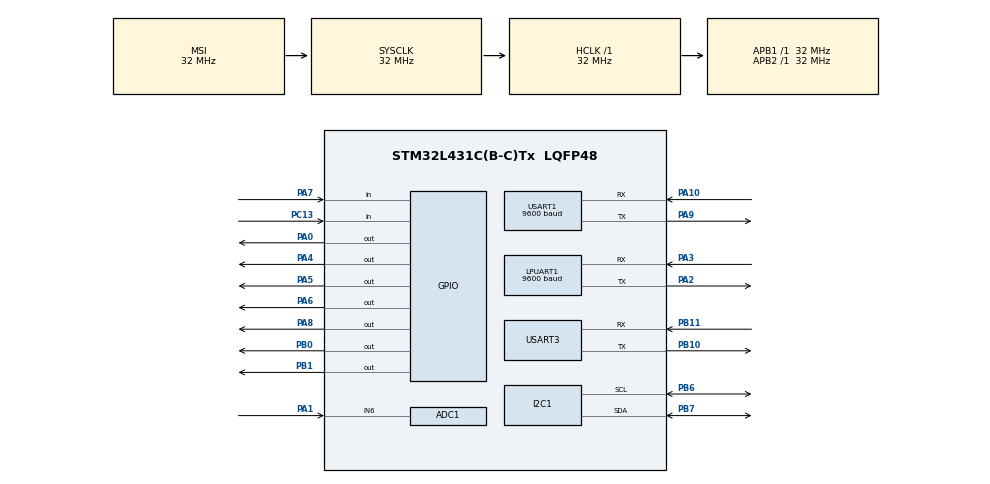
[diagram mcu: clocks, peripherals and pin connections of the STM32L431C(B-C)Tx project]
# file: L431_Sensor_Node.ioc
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ADC1.Channel-0\#ChannelRegularConversion=ADC_CHANNEL_6
ADC1.NbrOfConversionFlag=1
ADC1.OffsetNumber-0\#ChannelRegularConversion=ADC_OFFSET_NONE
ADC1.Rank-0\#ChannelRegularConversion=1
ADC1.SamplingTime-0\#ChannelRegularConversion=ADC_SAMPLETIME_2CYCLES_5
ADC1.master=1
Dma.LPUART_RX.0.Direction=DMA_PERIPH_TO_MEMORY
Dma.LPUART_RX.0.Instance=DMA2_Channel7
Dma.LPUART_RX.0.MemDataAlignment=DMA_MDATAALIGN_BYTE
Dma.LPUART_RX.0.MemInc=DMA_MINC_ENABLE
Dma.LPUART_RX.0.Mode=DMA_CIRCULAR
Dma.LPUART_RX.0.PeriphDataAlignment=DMA_PDATAALIGN_BYTE
Dma.LPUART_RX.0.PeriphInc=DMA_PINC_DISABLE
Dma.LPUART_RX.0.Priority=DMA_PRIORITY_LOW
Dma.Request0=LPUART_RX
Dma.Request1=USART1_RX
Dma.USART1_RX.1.Direction=DMA_PERIPH_TO_MEMORY
Dma.USART1_RX.1.Instance=DMA1_Channel5
Dma.USART1_RX.1.MemDataAlignment=DMA_MDATAALIGN_BYTE
Dma.USART1_RX.1.MemInc=DMA_MINC_ENABLE
Dma.USART1_RX.1.Mode=DMA_CIRCULAR
Dma.USART1_RX.1.PeriphDataAlignment=DMA_PDATAALIGN_BYTE
Dma.USART1_RX.1.PeriphInc=DMA_PINC_DISABLE
Dma.USART1_RX.1.Priority=DMA_PRIORITY_LOW
I2C1.Timing=0x00B07CB4
LPUART1.BaudRate=9600
LPUART1.DMADisableonRxErrorParam=UART_ADVFEATURE_DMA_DISABLEONRXERROR
LPUART1.OverrunDisableParam=UART_ADVFEATURE_OVERRUN_DISABLE
LPUART1.WordLength=UART_WORDLENGTH_8B
Mcu.Family=STM32L4
Mcu.Name=STM32L431C(B-C)Tx
Mcu.Package=LQFP48
NVIC.DMA1_Channel5_IRQn=true\:0\:0\:false\:false\:true\:false\:true\:true
NVIC.DMA2_Channel7_IRQn=true\:0\:0\:false\:false\:true\:false\:true\:true
NVIC.LPUART1_IRQn=true\:0\:0\:false\:false\:true\:true\:true\:true
NVIC.PriorityGroup=NVIC_PRIORITYGROUP_4
NVIC.USART1_IRQn=true\:0\:0\:false\:false\:true\:true\:true\:true
PA0.Signal=GPIO_Output
PA1.Signal=ADCx_IN6
PA10.GPIO_PuPd=GPIO_PULLUP
PA10.Mode=Asynchronous
PA10.Signal=USART1_RX
PA13\ (JTMS-SWDIO).Mode=Serial_Wire
PA13\ (JTMS-SWDIO).Signal=SYS_JTMS-SWDIO
PA14\ (JTCK-SWCLK).Mode=Serial_Wire
PA14\ (JTCK-SWCLK).Signal=SYS_JTCK-SWCLK
PA2.Mode=Asynchronous
PA2.Signal=LPUART1_TX
PA3.Mode=Asynchronous
PA3.Signal=LPUART1_RX
PA4.Signal=GPIO_Output
PA5.Signal=GPIO_Output
PA6.GPIO_ModeDefaultOutputPP=GPIO_MODE_OUTPUT_OD
PA6.GPIO_PuPd=GPIO_NOPULL
PA6.Signal=GPIO_Output
PA7.Signal=GPIO_Input
PA8.Signal=GPIO_Output
PA9.GPIO_PuPd=GPIO_PULLUP
PA9.Mode=Asynchronous
PA9.Signal=USART1_TX
PB0.Signal=GPIO_Output
PB1.Signal=GPIO_Output
PB10.Mode=Asynchronous
PB10.Signal=USART3_TX
PB11.Mode=Asynchronous
PB11.Signal=USART3_RX
PB6.Mode=I2C
PB6.Signal=I2C1_SCL
PB7.Mode=I2C
PB7.Signal=I2C1_SDA
PC13.GPIO_PuPd=GPIO_PULLUP
PC13.Signal=GPIO_Input
PC14-OSC32_IN\ (PC14).Mode=LSE-External-Oscillator
PC14-OSC32_IN\ (PC14).Signal=RCC_OSC32_IN
PC15-OSC32_OUT\ (PC15).Mode=LSE-External-Oscillator
PC15-OSC32_OUT\ (PC15).Signal=RCC_OSC32_OUT
ProjectManager.HeapSize=0x200
ProjectManager.StackSize=0x400
ProjectManager.TargetToolchain=CMake
RCC.ADCCLockSelection=RCC_ADCCLKSOURCE_SYSCLK
RCC.ADCFreq_Value=32000000
RCC.AHBFreq_Value=32000000
RCC.APB1Freq_Value=32000000
RCC.APB1TimFreq_Value=32000000
RCC.APB2Freq_Value=32000000
RCC.APB2TimFreq_Value=32000000
RCC.CortexFreq_Value=32000000
RCC.HCLKFreq_Value=32000000
RCC.HSE_VALUE=8000000
RCC.HSI48_VALUE=48000000
RCC.HSI_VALUE=16000000
RCC.LPUART1CLockSelection=RCC_LPUART1CLKSOURCE_HSI
RCC.MSIClockRange=RCC_MSIRANGE_10
RCC.MSI_VALUE=32000000
RCC.SYSCLKFreq_VALUE=32000000
RCC.VCOOutputFreq_Value=256000000
SH.ADCx_IN6.0=ADC1_IN6,IN6-Single-Ended
USART1.BaudRate=9600
USART1.DMADisableonRxErrorParam=ADVFEATURE_DMA_ENABLEONRXERROR
USART1.VirtualMode-Asynchronous=VM_ASYNC
USART3.VirtualMode-Asynchronous=VM_ASYNC
VP_RTC_VS_RTC_Activate.Mode=RTC_Enabled
VP_RTC_VS_RTC_Calendar.Mode=RTC_Calendar
board=custom

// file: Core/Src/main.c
/* USER CODE BEGIN Header */
/**
  ******************************************************************************
  * @file           : main.c
  * @brief          : Main program body
  ******************************************************************************
  * @attention
  *
  * Copyright (c) 2026 STMicroelectronics.
  * All rights reserved.
  *
  * This software is licensed under terms that can be found in the LICENSE file
  * in the root directory of this software component.
  * If no LICENSE file comes with this software, it is provided AS-IS.
  *
  ******************************************************************************
  */
/* USER CODE END Header */
#include "main.h"
#include "adc.h"
#include "dma.h"
#include "i2c.h"
#include "usart.h"
#include "rtc.h"
#include "gpio.h"

/* USER CODE BEGIN Includes */
#include <stdlib.h>
#include <stdio.h>
#include <string.h>
#include <unistd.h>

#include "printf.h"

#include "hw390_flash.h"

#include "interval.h"

#include "gps_time.h"

#include "gps_nmea.h"
#include "lora_app.h"
#include "lora_config.h"
#include "lora_driver.h"
#include "lora_identity.h"
#include "lora_join.h"
#include "utils.h"

#include "sensor_common.h"
#include "sensor_hw390.h"
#include "sensor_ds18b20.h"
#include "sensor_ina219.h"

/* USER CODE END Includes */

/* USER CODE BEGIN PD */

/* Node configuration */
#define GPIO_USER_BTN_LETTER GPIOC
#define GPIO_USER_BTN_PIN    GPIO_PIN_13

/* USER CODE END PD */

/* USER CODE BEGIN PV */
uint32_t last_poll_time = 0;

/* Measurement timing */
uint32_t last_humidity_ms = 0;
uint32_t last_temperature_ms = 0;
uint32_t last_gps_ms = 0;
uint32_t last_status_ms = 0;

/* Force measurement flags */
extern volatile bool force_humidity;
extern volatile bool force_temperature;
extern volatile bool force_gps;
extern volatile bool force_status;

/* Enable/disable flags */
bool need_humidity = true;
bool need_temperature = true;
bool need_gps = true;
bool need_status = true;

/* Interval global variables */
extern uint32_t hum_period_s;
extern uint32_t tmp_period_s;
extern uint32_t gps_period_s;
extern uint32_t stt_period_s;

extern volatile bool system_sleep_mode;

/* Online status */
bool device_online = true;

/* Button debounce */
static uint32_t button_last_press_ms = 0;
#define BUTTON_DEBOUNCE_MS 200

/* Sensor busy flags (for checking in main.c) */
extern volatile bool hw390_busy;
extern volatile bool ds18b20_busy;
extern bool gps_busy;
extern bool ina219_busy;

/* Sensor result ready flags (for checking in main.c) */
extern volatile bool hw390_result_ready;
extern volatile bool ds18b20_result_ready;
extern bool gps_result_ready;
extern bool ina219_result_ready;

extern RTC_HandleTypeDef hrtc;

/* USER CODE END PV */

void SystemClock_Config(void);
/* USER CODE BEGIN PFP */

bool period_due(uint32_t last_ms, uint32_t period_s);
bool check_need_humidity(void);
bool check_need_temperature(void);
bool check_need_gps(void);
bool check_need_status(void);
int measure_state(int16_t *out_rssi, float *out_snr, float *out_battery);

/* USER CODE END PFP */

/* USER CODE BEGIN 0 */

/* Debug version - define to enable debug prints */
#define DEBUG_VERSION

#ifndef DEBUG_VERSION
#define DEBUG_UART_BUFFER_SIZE 1024
static uint8_t debug_uart_buffer[DEBUG_UART_BUFFER_SIZE];
static uint16_t debug_uart_buffer_head = 0;
static uint16_t debug_uart_buffer_tail = 0;

/* Function prototype */
void debug_uart_process(void);
#endif

/* USER CODE END 0 */

int main(void)
{

  /* MCU Configuration--------------------------------------------------------*/

  /* Reset of all peripherals, Initializes the Flash interface and the Systick. */
  HAL_Init();

  /* Configure the system clock */
  SystemClock_Config();

  /* Initialize all configured peripherals */
  MX_GPIO_Init();
  MX_DMA_Init();
#ifndef GPS_ONLY
  MX_LPUART1_UART_Init();
#endif
  MX_USART1_UART_Init();
#ifndef GPS_ONLY
  MX_ADC1_Init();
  MX_I2C1_Init();
#endif
  MX_USART3_UART_Init();
  MX_RTC_Init();
  /* USER CODE BEGIN 2 */

  HAL_Delay(200);
  PRINTF("Wait 2 secs...\r\n");
  HAL_Delay(2000);
  PRINTF("Sensor Node firmware starting...\r\n");
  PRINTF("You can start HW390 calibration - Press USER button! (%d ms)\r\n", HW390_CALIBRATION_BOOT_WINDOW_MS);

  // Калибровки HW390
  uint32_t boot_window_start = HAL_GetTick();
  bool do_calibrate = false;
  while (HAL_GetTick() - boot_window_start < HW390_CALIBRATION_BOOT_WINDOW_MS) {
      if (HAL_GPIO_ReadPin(GPIO_USER_BTN_LETTER, GPIO_USER_BTN_PIN) == GPIO_PIN_RESET) { // active LOW, т.е. 0=нажато, 1=отпущено
          do_calibrate = true;
          break;
      }
      HAL_Delay(10);
  }

  if (do_calibrate) {
      hw390_run_calibration();
      NVIC_SystemReset(); // программный reset
  }
  else {
      PRINTF("Without HW390 calibration\r\n");
  }

  /* Initialize sensors */
  hw390_init();
  ds18b20_init();
  ina219_init();

  /* Initialize LoRa app, id and join */
  lora_identity_init();
  lora_join_init();
  lora_app_init();

  /* Initialize GPS (but keep it powered off initially) */
  gps_test_init(&huart1);  /* Initialize UART and DMA */

  /* Initialize random number generator */
  srand(HAL_GetTick());

  PRINTF("Sensor Node initialized\r\n");
  PRINTF("[HW390] Dry-Wet values: min(wet)=%u, max(dry)=%u\r\n", hw390_raw_wet, hw390_raw_dry);
  hw390_power_on();
  HAL_Delay(500); // на стабилизацию
  HAL_ADC_Start(&hadc1);
  HAL_Delay(500); // на стабилизацию
  if (HAL_ADC_PollForConversion(&hadc1, 10000) == HAL_OK) {
      uint32_t raw = HAL_ADC_GetValue(&hadc1);
      HAL_ADC_Stop(&hadc1);
      float humidity = hw390_normalize(raw);
      PRINTF("[HW390] Check humidity: [RAW %ld] %.2f%%\r\n", raw, humidity);
  }
  else {
      PRINTF("[HW390] Check hum timeout\r\n");
  }

  // Инициализировать интервалы замеров (default or from FLASH)
  interval_init();

  // Time synchronizing
  gps_time_init();
  PRINTF("Waiting for GPS to set RTC...\r\n");
  if (gps_time_sync_blocking(&hrtc)) {
      PRINTF("RTC time synchronized by GPS!\r\n");

      char buf[32];
      rtc_iso8601_string(buf, sizeof(buf), &hrtc);
      PRINTF("Current time: %s\n", buf);
  }
  else {
      PRINTF("RTC time not synchronized (timeout).\r\n");
  }

  /* USER CODE END 2 */

  /* Infinite loop */
  while (1)
  {

    /* USER CODE BEGIN 3 */
    /* Call sensor tick functions - FSM (finite state machine) */
    lora_join_tick();
    // ina219_tick();
    if (!system_sleep_mode) {
        hw390_tick();
        ds18b20_tick();
        gps_tick();
    }

    /* LoRa TX pump and RX process (call every iteration) */
    lora_app_tx_pump();
    lora_app_rx_process();

#ifndef DEBUG_VERSION
    /* Process debug UART buffer (non-blocking) */
    debug_uart_process();
#endif

    /* Check USER button for force measurements (active low) */
    if (HAL_GPIO_ReadPin(GPIOC, GPIO_PIN_13) == GPIO_PIN_RESET)
    {
      uint32_t now = HAL_GetTick();
      if (now - button_last_press_ms >= BUTTON_DEBOUNCE_MS) {
        button_last_press_ms = now;
        PRINTF("Button pressed - forcing all measurements\r\n");
        force_humidity = true;
        force_temperature = true;
        force_gps = true;
        force_status = true;
      }
    }

    const char *node_id = lora_identity_get_node_id(); // точно не NULL, ведь функция просто делает return указателя
    if (system_sleep_mode && !(force_humidity || force_temperature || force_gps || force_status)) {
    	PRINTF("\r\n[SLEEP] sleeping now...\r\n\r\n");
    }
    else {
        PRINTF("ready FSM: HW-%d DS-%d GPS-%d\r\n", hw390_result_ready, ds18b20_result_ready, gps_result_ready);

        if (strcmp(node_id, LORA_UNASSIGNED_NODE_ID) == 0) {
            PRINTF("Node_ID is default\r\n");
        }
        else {
            // can start sensors state machines

            /* HW390 humidity check result */
            if (hw390_result_ready) {
              sensor_reading_t reading;
              if (hw390_get_result(&reading) == 0 && reading.valid) {
                PRINTF("Humidity: %.2f%%\r\n", reading.value);
                lora_app_send_humidity(reading.value);
                last_humidity_ms = HAL_GetTick();
                force_humidity = false;
              } else {
                PRINTF("Humidity    measurement failed\r\n");
                lora_app_send_humidity(HW390_ERROR_VALUE);
                last_humidity_ms = HAL_GetTick();
                force_humidity = false;
              }
            }

            /* HW390 Humidity measurement */
            if (check_need_humidity())
            {
              PRINTF("Humidity measurement needed\r\n");

              if (!hw390_busy) {
                hw390_request_measurement();
              }
            }

            /* DS18B20 Temperature check result */
            if (ds18b20_result_ready) {
              sensor_reading_t reading;
              if (ds18b20_get_result(&reading) == 0 && reading.valid) {
                PRINTF("Temperature: %.2f*C\r\n", reading.value);
                lora_app_send_temperature(reading.value);
                last_temperature_ms = HAL_GetTick();
                force_temperature = false;
              } else {
                PRINTF("Temperature    measurement failed\r\n");
                lora_app_send_temperature(DS18B20_ERROR_VALUE);
                last_temperature_ms = HAL_GetTick();
                force_temperature = false;
              }
            }

            /* Temperature measurement */
            if (check_need_temperature())
            {
              PRINTF("Temperature measurement needed\r\n");

              if (!ds18b20_busy) {
                ds18b20_request_measurement();
              }
            }

            /* GPS check result */
            if (gps_result_ready) {
              float lat, lon;
              if (gps_get_result(&lat, &lon) == 0) {
                lora_app_send_gps(lat, lon);
                PRINTF("GPS %.6f %.6f\r\n", lat, lon);
                last_gps_ms = HAL_GetTick();
                force_gps = false;
              } else {
                PRINTF("GPS    collection failed\r\n");
                lora_app_send_gps(GPS_ERROR_LAT, GPS_ERROR_LON);
                last_gps_ms = HAL_GetTick();
                force_gps = false;
              }
            }

            /* GPS measurement */
            if (check_need_gps()) {
              PRINTF("GPS measurement needed\r\n");

              if (!gps_busy) {
                gps_request_measurement();
              }
            }

            /* State measurement */
            if (check_need_status())
            {
              PRINTF("State measurement needed\r\n");

              int16_t rssi;
              float snr;
              float battery;
              if (measure_state(&rssi, &snr, &battery) == 0)
              {
                lora_app_send_state(rssi, snr, battery, device_online);
              }
              else
              {
                PRINTF("State    measurement failed\r\n");
                lora_app_send_state(STATE_ERROR_RSSI, STATE_ERROR_SNR, STATE_ERROR_BATTERY, device_online);
              }

              last_status_ms = HAL_GetTick();
              force_status = false;
            }
        }
    } // end `if (!system_sleep_mode)`

    /* Log state machine states for debugging */
    static uint32_t last_log_ms = 0;
    if (HAL_GetTick() - last_log_ms >= 500) {  // раз в 500 мс
        PRINTF("States: HW390=%d DS18B20=%d GPS=%d\r\n",
           hw390_state, ds18b20_state, gps_state);
        last_log_ms = HAL_GetTick();
    }

    /* Minimal delay to prevent CPU spinning (1ms) */
    HAL_Delay(1);
  }
  /* USER CODE END 3 */
}

void SystemClock_Config(void)
{
  RCC_OscInitTypeDef RCC_OscInitStruct = {0};
  RCC_ClkInitTypeDef RCC_ClkInitStruct = {0};

  /** Configure the main internal regulator output voltage
  */
  if (HAL_PWREx_ControlVoltageScaling(PWR_REGULATOR_VOLTAGE_SCALE1) != HAL_OK)
  {
    Error_Handler();
  }

  /** Configure LSE Drive Capability
  */
  HAL_PWR_EnableBkUpAccess();
  __HAL_RCC_LSEDRIVE_CONFIG(RCC_LSEDRIVE_LOW);

  /** Initializes the RCC Oscillators according to the specified parameters
  * in the RCC_OscInitTypeDef structure.
  */
  RCC_OscInitStruct.OscillatorType = RCC_OSCILLATORTYPE_HSI|RCC_OSCILLATORTYPE_LSI
                              |RCC_OSCILLATORTYPE_LSE|RCC_OSCILLATORTYPE_MSI;
  RCC_OscInitStruct.LSEState = RCC_LSE_ON;
  RCC_OscInitStruct.HSIState = RCC_HSI_ON;
  RCC_OscInitStruct.HSICalibrationValue = RCC_HSICALIBRATION_DEFAULT;
  RCC_OscInitStruct.LSIState = RCC_LSI_ON;
  RCC_OscInitStruct.MSIState = RCC_MSI_ON;
  RCC_OscInitStruct.MSICalibrationValue = 0;
  RCC_OscInitStruct.MSIClockRange = RCC_MSIRANGE_10;
  RCC_OscInitStruct.PLL.PLLState = RCC_PLL_NONE;
  if (HAL_RCC_OscConfig(&RCC_OscInitStruct) != HAL_OK)
  {
    Error_Handler();
  }

  /** Initializes the CPU, AHB and APB buses clocks
  */
  RCC_ClkInitStruct.ClockType = RCC_CLOCKTYPE_HCLK|RCC_CLOCKTYPE_SYSCLK
                              |RCC_CLOCKTYPE_PCLK1|RCC_CLOCKTYPE_PCLK2;
  RCC_ClkInitStruct.SYSCLKSource = RCC_SYSCLKSOURCE_MSI;
  RCC_ClkInitStruct.AHBCLKDivider = RCC_SYSCLK_DIV1;
  RCC_ClkInitStruct.APB1CLKDivider = RCC_HCLK_DIV1;
  RCC_ClkInitStruct.APB2CLKDivider = RCC_HCLK_DIV1;

  if (HAL_RCC_ClockConfig(&RCC_ClkInitStruct, FLASH_LATENCY_1) != HAL_OK)
  {
    Error_Handler();
  }

  /** Enable MSI Auto calibration
  */
  HAL_RCCEx_EnableMSIPLLMode();
}

/* USER CODE BEGIN 4 */

#ifdef DEBUG_VERSION
/* Blocking PRINTF redirect */
int _write(int file, char *ptr, int len)
{
    if (file == STDOUT_FILENO || file == STDERR_FILENO) {
        HAL_UART_Transmit(&huart3, (uint8_t*)ptr, len, HAL_MAX_DELAY);
        return len;
    }
    return -1;
}
#else
/* Non-blocking PRINTF redirect using buffer */
int _write(int file, char *ptr, int len)
{
    if (file == STDOUT_FILENO || file == STDERR_FILENO)
    {
        /* Add to buffer if space available */
        for (int i = 0; i < len; i++) {
            uint16_t next_head = (debug_uart_buffer_head + 1) % DEBUG_UART_BUFFER_SIZE;
            if (next_head != debug_uart_buffer_tail) {
                debug_uart_buffer[debug_uart_buffer_head] = (uint8_t)ptr[i];
                debug_uart_buffer_head = next_head;
            }
        }
        return len;
    }
    return -1;
}

/* Process UART buffer - send data non-blocking */
// void debug_uart_process(void)
// {
//     if (debug_uart_buffer_head != debug_uart_buffer_tail) {
//         uint16_t next_tail = (debug_uart_buffer_tail + 1) % DEBUG_UART_BUFFER_SIZE;
//         uint8_t byte = debug_uart_buffer[debug_uart_buffer_tail];

//         if (HAL_UART_Transmit(&huart3, &byte, 1, 10) == HAL_OK) {
//             debug_uart_buffer_tail = next_tail;
//         }
//     }
// }

void debug_uart_process(void)
{
    #define TX_BATCH_SIZE 64  // Отправлять пачками по 64 байта

    if (debug_uart_buffer_head != debug_uart_buffer_tail) {
        uint16_t available = (debug_uart_buffer_head - debug_uart_buffer_tail + DEBUG_UART_BUFFER_SIZE) % DEBUG_UART_BUFFER_SIZE;
        uint16_t to_send = (available < TX_BATCH_SIZE) ? available : TX_BATCH_SIZE;

        // Временный буфер
        uint8_t temp[TX_BATCH_SIZE];
        for (uint16_t i = 0; i < to_send; i++) {
            uint16_t idx = (debug_uart_buffer_tail + i) % DEBUG_UART_BUFFER_SIZE;
            temp[i] = debug_uart_buffer[idx];
        }

        if (HAL_UART_Transmit(&huart3, temp, to_send, 50) == HAL_OK) {
            debug_uart_buffer_tail = (debug_uart_buffer_tail + to_send) % DEBUG_UART_BUFFER_SIZE;
        }
    }
}

#endif

/* Check if measurement period is due */
bool period_due(uint32_t last_ms, uint32_t period_s)
{
    if (period_s == 0) return false;
    uint32_t now = HAL_GetTick();
    return (now - last_ms) >= (period_s * 1000);
}

/* Check if humidity measurement is needed */
bool check_need_humidity(void)
{
    if (!need_humidity) return false;
    if (force_humidity) return true;
    return period_due(last_humidity_ms, hum_period_s);
}

/* Check if temperature measurement is needed */
bool check_need_temperature(void)
{
    if (!need_temperature) return false;
    if (force_temperature) return true;
    return period_due(last_temperature_ms, tmp_period_s);
}

/* Check if GPS measurement is needed */
bool check_need_gps(void)
{
    if (!need_gps) return false;
    if (force_gps) return true;
    return period_due(last_gps_ms, gps_period_s);
}

/* Check if status measurement is needed */
bool check_need_status(void)
{
    if (!need_status) return false;
    if (force_status) return true;
    return period_due(last_status_ms, stt_period_s);
}

/* Measure state: LoRa RSSI/SNR, battery percentage, online status */
/* Returns 0 on success, negative on error */
int measure_state(int16_t *out_rssi, float *out_snr, float *out_battery)
{
    if (!out_rssi || !out_snr || !out_battery) return -1;

    int8_t result = lora_driver_read_rssi_and_snr(out_rssi, out_snr);
    if (result == 0) {
        PRINTF("State: RSSI = %d dBm, SNR = %.2f dB\r\n", *out_rssi, *out_snr);
    }
    else {
        // PRINTF("State: Failed to read RSSI and SNR - %d\r\n", result);
        // *out_rssi = STATE_ERROR_RSSI;
        // *out_snr = STATE_ERROR_SNR;

        // /* Read LoRa RSSI only (ambient noise) */
        // int16_t rssi = lora_driver_read_rssi(true);
        // if (rssi == 0) {
        //     PRINTF("State: Failed to read RSSI\r\n");
        //     *out_rssi = STATE_ERROR_RSSI;
        // } else {
        //     *out_rssi = rssi;
        //     PRINTF("State: RSSI = %d dBm\r\n", rssi);
        // }

        PRINTF("State: Failed to read RSSI and SNR - %d, using random values\r\n", result);

        /* Генерация случайных значений в разумных пределах */
        /* RSSI: от -120 до -40 dBm (типичные значения для LoRa) */
        *out_rssi = -120 + (rand() % 81);  // -120 ... -40

        /* SNR: от -20 до +10 dB (типичные значения с шагом 0.5 - как LoRa позволяет) */
        *out_snr = -20.0f + (rand() % 60) / 2.0f;  // -20.0 ... +10.0

        PRINTF("State: Using random RSSI = %d dBm, SNR = %.2f dB\r\n", *out_rssi, *out_snr);
    }

    // /* SNR is not directly available via the simple RSSI command */
    // /* For now, we'll use a placeholder value */
    // /* no TO DO (already realised): Implement SNR reading if available via E22 registers */
    // *out_snr = 0;  /* Placeholder */

    /* Read battery voltage from INA219 */
    float voltage_mv = 0.0f;
    if (ina219_read_voltage(&voltage_mv) != 0)
    {
        PRINTF("State: Failed to read battery voltage\r\n");
        *out_battery = STATE_ERROR_BATTERY;
    }
    else
    {
        voltage_mv *= 1000.0f;
        if (voltage_mv < 0)
        {
            PRINTF("State: Invalid battery voltage\r\n");
            *out_battery = STATE_ERROR_BATTERY;
        }
        else
        {
            /* Calculate battery percentage */
            float percentage = 0.0f;
            if (voltage_mv >= BATTERY_MAX_VOLTAGE_MV) {
                percentage = 100.0f;
            }
            else if (voltage_mv <= BATTERY_MIN_VOLTAGE_MV) {
                percentage = 0.0f;
            }
            else {
                percentage = 100.0f * (voltage_mv - BATTERY_MIN_VOLTAGE_MV) / (BATTERY_MAX_VOLTAGE_MV - BATTERY_MIN_VOLTAGE_MV);
            }

            *out_battery = percentage;
            PRINTF("State: Battery = %.2fV (%.1f%%)\r\n", voltage_mv / 1000.0f, percentage);
        }
    }

    return 0;
}

/* USER CODE END 4 */

void Error_Handler(void)
{
  __disable_irq();
  while (1)
  {
  }
}
#ifdef USE_FULL_ASSERT
/**
  * @brief  Reports the name of the source file and the source line number
  *         where the assert_param error has occurred.
  * @param  file: pointer to the source file name
  * @param  line: assert_param error line source number
  * @retval None
  */
void assert_failed(uint8_t *file, uint32_t line)
{
  /* USER CODE BEGIN 6 */
  /* User can add his own implementation to report the file name and line number,
     ex: PRINTF("Wrong parameters value: file %s on line %d\r\n", file, line) */
  /* USER CODE END 6 */
}
#endif /* USE_FULL_ASSERT */
